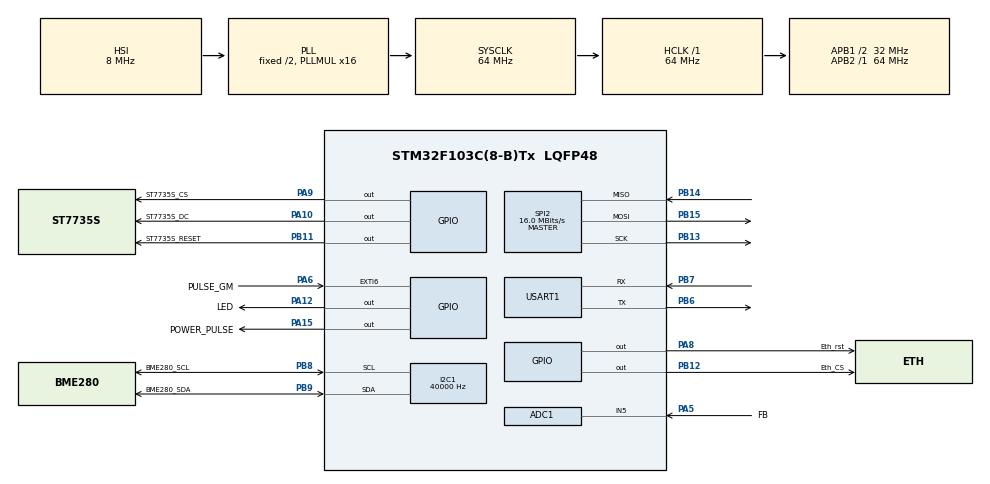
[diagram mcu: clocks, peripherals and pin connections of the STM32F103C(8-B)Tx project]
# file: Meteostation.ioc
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Mcu.Family=STM32F1
SPI2.VirtualType=VM_MASTER
VP_TIM4_VS_OPM.Mode=OPM_bit
VP_IWDG_VS_IWDG.Mode=IWDG_Activate
VP_RTC_VS_RTC_Activate.Mode=RTC_Enabled
PA6.GPIO_Label=PULSE_GM
NVIC.TIM1_UP_IRQn=true\:0\:0\:false\:false\:true\:true\:true
PB11.Signal=GPIO_Output
PB15.Signal=SPI2_MOSI
PB13.Signal=SPI2_SCK
TIM4.TIM_MasterOutputTrigger=TIM_TRGO_OC1
RCC.SYSCLKSource=RCC_SYSCLKSOURCE_PLLCLK
ProjectManager.StackSize=0x400
VP_TIM1_VS_no_output1.Mode=Output Compare1 No Output
PA15.GPIO_Label=POWER_PULSE
PA12.Signal=GPIO_Output
TIM1.Prescaler=5
SPI2.CLKPolarity=SPI_POLARITY_LOW
I2C1.ClockSpeed=40000
RCC.HCLKFreq_Value=64000000
RCC.APB2TimFreq_Value=64000000
PB6.Signal=USART1_TX
Dma.ADC1.0.Direction=DMA_PERIPH_TO_MEMORY
PB6.Mode=Asynchronous
Dma.ADC1.0.MemDataAlignment=DMA_MDATAALIGN_HALFWORD
RCC.AHBFreq_Value=64000000
SPI2.BaudRatePrescaler=SPI_BAUDRATEPRESCALER_2
PA12.PinState=GPIO_PIN_RESET
ADC1.Channel-0\#ChannelRegularConversion=ADC_CHANNEL_5
RCC.PLLMUL=RCC_PLL_MUL16
PB12.GPIO_Label=Eth_CS
PA6.GPIO_PuPd=GPIO_PULLUP
PB14.Mode=Full_Duplex_Master
Dma.ADC1.0.PeriphInc=DMA_PINC_DISABLE
PA10.GPIO_Label=ST7735S_DC
SPI2.CalculateBaudRate=16.0 MBits/s
PB7.Signal=USART1_RX
PA8.Signal=GPIO_Output
VP_TIM1_VS_ClockSourceINT.Mode=Internal
ADC1.SamplingTime-0\#ChannelRegularConversion=ADC_SAMPLETIME_7CYCLES_5
PB9.Signal=I2C1_SDA
Mcu.Package=LQFP48
PA6.Signal=GPXTI6
SPI2.Mode=SPI_MODE_MASTER
PA10.Signal=GPIO_Output
PA15.Signal=GPIO_Output
SPI2.CLKPhase=SPI_PHASE_1EDGE
RCC.APB1TimFreq_Value=64000000
SPI2.Direction=SPI_DIRECTION_2LINES
PB13.Mode=Full_Duplex_Master
Dma.Request0=ADC1
PA12.GPIO_Speed=GPIO_SPEED_FREQ_HIGH
TIM4.AutoReloadPreload=TIM_AUTORELOAD_PRELOAD_ENABLE
PA6.GPIO_ModeDefaultEXTI=GPIO_MODE_IT_RISING
Dma.ADC1.0.Instance=DMA1_Channel1
ADC1.Rank-0\#ChannelRegularConversion=1
PB9.GPIO_Label=BME280_SDA
PA9.GPIO_Label=ST7735S_CS
TIM1.Channel-Output\ Compare1\ No\ Output=TIM_CHANNEL_1
TIM1.OCMode_1=TIM_OCMODE_TOGGLE
PB11.GPIO_Label=ST7735S_RESET
RCC.APB1CLKDivider=RCC_HCLK_DIV2
VP_SYS_VS_ND.Mode=No_Debug
PA12.GPIO_Label=LED
RCC.ADCPresc=RCC_ADCPCLK2_DIV8
TIM1.AutoReloadPreload=TIM_AUTORELOAD_PRELOAD_ENABLE
PB8.GPIO_Label=BME280_SCL
Dma.ADC1.0.PeriphDataAlignment=DMA_PDATAALIGN_HALFWORD
PA8.GPIO_Label=Eth_rst
ProjectManager.TargetToolchain=STM32CubeIDE
SPI2.CRCCalculation=SPI_CRCCALCULATION_DISABLE
Dma.ADC1.0.Mode=DMA_NORMAL
I2C1.I2C_Mode=I2C_Fast
Dma.ADC1.0.Priority=DMA_PRIORITY_LOW
PB9.Mode=I2C
PA9.Signal=GPIO_Output
RCC.USBFreq_Value=64000000
TIM4.Prescaler=20
PB12.GPIO_Speed=GPIO_SPEED_FREQ_HIGH
PB14.Signal=SPI2_MISO
PA5.Signal=ADCx_IN5
board=custom
PB15.Mode=Full_Duplex_Master
TIM1.TIM_MasterOutputTrigger=TIM_TRGO_OC1REF
RCC.APB2Freq_Value=64000000
Mcu.Name=STM32F103C(8-B)Tx
ADC1.ExternalTrigConv=ADC_SOFTWARE_START
RCC.SYSCLKFreq_VALUE=64000000
ADC1.master=1
PA5.GPIO_Label=FB
RCC.HSEDivPLL=RCC_HSE_PREDIV_DIV2
SPI2.FirstBit=SPI_FIRSTBIT_MSB
USART1.VirtualMode=VM_ASYNC
PA15.GPIO_Speed=GPIO_SPEED_FREQ_HIGH
PB7.Mode=Asynchronous
NVIC.EXTI9_5_IRQn=true\:0\:0\:false\:false\:true\:true\:true
Dma.ADC1.0.MemInc=DMA_MINC_DISABLE
ProjectManager.HeapSize=0x200
SH.ADCx_IN5.0=ADC1_IN5,IN5
VP_TIM4_VS_ClockSourceINT.Mode=Internal
NVIC.PriorityGroup=NVIC_PRIORITYGROUP_4
ADC1.NbrOfConversionFlag=1
PB8.Mode=I2C
IWDG.Prescaler=IWDG_PRESCALER_128
PB8.Signal=I2C1_SCL
SPI2.DataSize=SPI_DATASIZE_8BIT
NVIC.DMA1_Channel1_IRQn=true\:0\:0\:false\:false\:true\:true\:true
NVIC.TIM4_IRQn=true\:0\:0\:false\:false\:true\:true\:true
RCC.APB1Freq_Value=32000000
PB12.Signal=GPIO_Output

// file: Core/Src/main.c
/* USER CODE BEGIN Header */
/**
  ******************************************************************************
  * @file           : main.c
  * @brief          : Main program body
  ******************************************************************************
  * @attention
  *
  * <h2><center>&copy; Copyright (c) 2022 STMicroelectronics.
  * All rights reserved.</center></h2>
  *
  * This software component is licensed by ST under BSD 3-Clause license,
  * the "License"; You may not use this file except in compliance with the
  * License. You may obtain a copy of the License at:
  *                        opensource.org/licenses/BSD-3-Clause
  *
  ******************************************************************************
  */
/* USER CODE END Header */
#include "main.h"

/* USER CODE BEGIN PTD */
#ifndef PUBLIC_VAR
#define PUBLIC_VAR

uint32_t fastCounter, CO2Counter, CO2Interval ;
uint16_t hvLevel;
bool gm_ready;
float temperature, pressure, humidity;
char ZabbixHostName[255];
#endif

/* USER CODE END PTD */

ADC_HandleTypeDef hadc1;
DMA_HandleTypeDef hdma_adc1;

I2C_HandleTypeDef hi2c1;

IWDG_HandleTypeDef hiwdg;

RTC_HandleTypeDef hrtc;

SPI_HandleTypeDef hspi2;

TIM_HandleTypeDef htim1;
TIM_HandleTypeDef htim4;

UART_HandleTypeDef huart1;

/* USER CODE BEGIN PV */
HAL_StatusTypeDef	flash_ok;
char uart_buffer[10] = {0,};
char buff_anem[50] = {0,};
char SndBuffer[200] = {0,};
char text1306[16];
uint16_t gm_counter = 0;
uint32_t gm_interval = 0, ntp_interval = 0, zabb_interval = 0, anem_interval = 0;
float gm_cps = 0;
sSensorMeasurement_t messuremetData;
uint16_t CO2;

#ifdef ZABBIX_ENABLE
wiz_NetInfo net_info = {
	.mac  = { MAC_ADDRESS },
	.dhcp = NETINFO_DHCP
};
uint8_t ntp_server[4] = {192, 168, 1, 1/*188, 246, 226, 6*/};
uint8_t gDATABUF[DATA_BUF_SIZE];
datetime timeNTP;
#endif

RTC_TimeTypeDef sTime = {0};
RTC_DateTypeDef DateToUpdate = {0};
char trans_str[64] = {0,};
bool gm_ready = FALSE;
bool first_start = TRUE, fist_time_show = TRUE, first_time_anem = TRUE;
int tot_bytes = 0;

/* USER CODE END PV */

void SystemClock_Config(void);
static void MX_GPIO_Init(void);
static void MX_DMA_Init(void);
static void MX_USART1_UART_Init(void);
static void MX_I2C1_Init(void);
static void MX_SPI2_Init(void);
static void MX_IWDG_Init(void);
static void MX_ADC1_Init(void);
static void MX_TIM1_Init(void);
static void MX_RTC_Init(void);
static void MX_TIM4_Init(void);

/* USER CODE BEGIN 0 */
#ifdef ZABBIX_ENABLE

#ifdef ZABBIX_DEBUG
void UART_Printf(const char* fmt, ...) {
	char buff[256];
	va_list args;
	va_start(args, fmt);
	vsnprintf(buff, sizeof(buff), fmt, args);
	HAL_UART_Transmit(&huart1, (uint8_t*) buff, strlen(buff), HAL_MAX_DELAY);
	va_end(args);
}
#endif

void W5500_Select(void) {
	HAL_GPIO_WritePin(Eth_CS_GPIO_Port, Eth_CS_Pin, GPIO_PIN_RESET);
}

void W5500_Unselect(void) {
	HAL_GPIO_WritePin(Eth_CS_GPIO_Port, Eth_CS_Pin, GPIO_PIN_SET);
}

void W5500_ReadBuff(uint8_t* buff, uint16_t len) {
	HAL_SPI_Receive(&hspi2, buff, len, HAL_MAX_DELAY);
}

void W5500_WriteBuff(uint8_t* buff, uint16_t len) {
	HAL_SPI_Transmit(&hspi2, buff, len, HAL_MAX_DELAY);
}

uint8_t W5500_ReadByte(void) {
	uint8_t byte;
	W5500_ReadBuff(&byte, sizeof(byte));
	return byte;
}

void W5500_WriteByte(uint8_t byte) {
	W5500_WriteBuff(&byte, sizeof(byte));
}

volatile bool ip_assigned = false;

void Callback_IPAssigned(void) {
#ifdef ZABBIX_DEBUG
	UART_Printf("Callback: IP assigned! Leased time: %d sec\r\n", getDHCPLeasetime());
#endif
    ip_assigned = true;
}

void Callback_IPConflict(void) {
#ifdef ZABBIX_DEBUG
    UART_Printf("Callback: IP conflict!\r\n");
#endif
}

// 1K should be enough, see https://forum.wiznet.io/t/topic/1612/2
uint8_t dhcp_buffer[1024];
// 1K seems to be enough for this buffer as well
//uint8_t dns_buffer[1024];

/*
 * addr -- IP address zabbix server, dhcp option 224.
 * Settings for isc-dhcp-server:
 * 		option zabbix-server-ip code 224 = ip-address ;
 * 		option zabix-host-name code 225 = string ;
 * 		host anemometr {
 *      	hardware ethernet 00:11:22:33:44:xx;
 *      	fixed-address 192.168.1.24;
 *       	option zabbix-server-ip 192.168.1.6;
 *       	option zabix-host-name "Ed";
 * 		}
 *
 * key -- Zabbix key: {ALTIM_DIRECT, ALTIM_SPEED}
 *
 * value -- Float value of key.
*/
uint8_t sendToZabbix(uint8_t * addr, char * host, char * key, float value) {
#ifdef ZABBIX_DEBUG
    UART_Printf("Creating socket...\r\n");
#endif
    uint8_t tcp_socket = TCP_SOCKET;
    uint8_t code = socket(tcp_socket, Sn_MR_TCP, 10888, 0);
    if(code != tcp_socket) {
	#ifdef ZABBIX_DEBUG
        UART_Printf("socket() failed, code = %d\r\n", code);
	#endif
        return(-1);
    }
#ifdef ZABBIX_DEBUG
    UART_Printf("Socket created, connecting...\r\n");
#endif
    code = connect(tcp_socket, addr, ZABBIXPORT);
    if(code != SOCK_OK) {
	#ifdef ZABBIX_DEBUG
        UART_Printf("connect() failed, code = %d\r\n", code);
	#endif
        close(tcp_socket);
        return(-2);
    }
#ifdef ZABBIX_DEBUG
    UART_Printf("Connected, sending ZABBIX request...\r\n");
#endif
    {
    	char req[ZABBIXMAXLEN];
    	char str[ZABBIXMAXLEN - 13];
    	sprintf(str, "{\"request\":\"sender data\",\"data\":[{\"host\":\"%.20s\",\"key\":\"%s\",\"value\":\"%f\"}]}", host, key, value);
    	req[0] = 'Z';
    	req[1] = 'B';
		req[2] = 'X';
		req[3] = 'D';
		req[4] = 0x01;
		req[5] = strlen(str);
		req[6] = 0;
		req[7] = 0;
		req[8] = 0;
		req[9] = 0;
		req[10] = 0;
		req[11] = 0;
		req[12] = 0;
		strcpy(req + 13, str);
        //char req[] = "ZBXD\1\0\0\0\0\0\0\0\0{\"request\":\"sender data\",\"data\":[{\"host\":\"Ed\",\"key\":\"ALTIM_DIRECT\",\"value\":\"10\"}]}";
        uint8_t len = req[5] + 13;
        uint8_t* buff = (uint8_t*)&req;
        while(len > 0) {
		#ifdef ZABBIX_DEBUG
            UART_Printf("Sending %d bytes, data length %d bytes...\r\n", len, req[5]);
		#endif
            int32_t nbytes = send(tcp_socket, buff, len);
            if(nbytes <= 0) {
			#ifdef ZABBIX_DEBUG
                UART_Printf("send() failed, %d returned\r\n", nbytes);
			#endif
                close(tcp_socket);
                return(-3);
            }
			#ifdef ZABBIX_DEBUG
            UART_Printf("%d b sent!\r\n", nbytes);
			#endif
            len -= nbytes;
        }
    }
    /* Read data from Zabbix */
	#ifdef ZABBIX_DEBUG
		UART_Printf("Read.\r\n");
		{
			char buff[32];
			for(;;) {
				int32_t nbytes = recv(tcp_socket, (uint8_t*)&buff, sizeof(buff)-1);
				if(nbytes == SOCKERR_SOCKSTATUS) {
					UART_Printf("\r\nDisconnect.\r\n");
					break;
				}

				if(nbytes <= 0) {
					UART_Printf("\r\nrecv() failed, %d\r\n", nbytes);
					break;
				}

				buff[nbytes] = '\0';
				UART_Printf("%s", buff);
			}
		}

		UART_Printf("Closing socket.\r\n");
	#endif
    close(tcp_socket);
    return(0);
}

void getDataFromAnemometer () {
	//ANEMOMETERPORT
    uint8_t tcp_socket = ANM_SOCKET;
    uint8_t code = socket(tcp_socket, Sn_MR_TCP, 10889, 0);
    tot_bytes = 0;
    if(code != tcp_socket) {
        return;
    }
    code = connect(tcp_socket, net_info.zabbix, ANEMOMETERPORT);
    if(code != SOCK_OK) {
        close(tcp_socket);
        return;
    }
	for(;;) {
		int32_t nbytes = recv(tcp_socket, (uint8_t*) &buff_anem, sizeof(buff_anem) - 1);
		tot_bytes += nbytes;
		if(nbytes == SOCKERR_SOCKSTATUS) {
			break;
		}

	}
	if(tot_bytes > 3) {
	}
	close(tcp_socket);
}

void init_w5500() {
	#ifdef ZABBIX_DEBUG
    UART_Printf("\r\ninit() called!\r\n");
    UART_Printf("W5500 callbacks...\r\n");
	#endif
    reg_wizchip_cs_cbfunc(W5500_Select, W5500_Unselect);
    reg_wizchip_spi_cbfunc(W5500_ReadByte, W5500_WriteByte);
    reg_wizchip_spiburst_cbfunc(W5500_ReadBuff, W5500_WriteBuff);
	#ifdef ZABBIX_DEBUG
    UART_Printf("wizchip_init()...\r\n");
	#endif
    uint8_t rx_tx_buff_sizes[] = {2, 2, 2, 2, 2, 2, 2, 2};
    wizchip_init(rx_tx_buff_sizes, rx_tx_buff_sizes);
	#ifdef ZABBIX_DEBUG
    UART_Printf("DHCP_init()...\r\n");
	#endif

    // set MAC address before using DHCP
    setSHAR(net_info.mac);
    DHCP_init(DHCP_SOCKET, dhcp_buffer);
	#ifdef ZABBIX_DEBUG
    UART_Printf("DHCP callbacks...\r\n");
	#endif
    reg_dhcp_cbfunc(
        Callback_IPAssigned,
        Callback_IPAssigned,
        Callback_IPConflict
    );
	#ifdef ZABBIX_DEBUG
    UART_Printf("DHCP_run()...\r\n");
	#endif
    // actually should be called in a loop, e.g. by timer
    uint32_t ctr = 10000;
    while((!ip_assigned) && (ctr > 0)) {
        DHCP_run();
        ctr--;
        HAL_Delay(300);
    }
    if(!ip_assigned) {
		#ifdef ZABBIX_DEBUG
        UART_Printf("\r\nIP was not assigned :(\r\n");
		#endif
        return;
    }

    getIPfromDHCP(net_info.ip);
    getGWfromDHCP(net_info.gw);
    getSNfromDHCP(net_info.sn);
    getZABBIXfromDHCP(net_info.zabbix);
    getHostNamefromDHCP(net_info.hostname);
    //getTimeSrvfromDHCP(net_info.tmsrv);
    getSNTPSrvfromDHCP(net_info.tmsrv);
    if (net_info.hostname[0] == '\0') {
    	sprintf(ZabbixHostName, "%s", ZABBIXAGHOST);
    } else {
    	sprintf(ZabbixHostName, "%s", net_info.hostname);
    }

    //uint8_t dns[4];
    //getDNSfromDHCP(dns);
	#ifdef ZABBIX_DEBUG
    UART_Printf("IP:  %d.%d.%d.%d\r\nGW:  %d.%d.%d.%d\r\nNet: %d.%d.%d.%d\r\nZabbix: %d.%d.%d.%d\r\nHostName:%s\r\n",
        net_info.ip[0], net_info.ip[1], net_info.ip[2], net_info.ip[3],
        net_info.gw[0], net_info.gw[1], net_info.gw[2], net_info.gw[3],
        net_info.sn[0], net_info.sn[1], net_info.sn[2], net_info.sn[3],
        net_info.zabbix[0], net_info.zabbix[1], net_info.zabbix[2], net_info.zabbix[3],
		ZabbixHostName
    );
    UART_Printf("Calling wizchip_setnetinfo()...\r\n");
	#endif
    wizchip_setnetinfo(&net_info);

}
#endif

/*
 * Function for control SCD41
 */
void setSleepMode(uint16_t mode) {
  SCDwriteData(mode, NULL, 0);
  if(SCD4X_WAKE_UP == mode)
    HAL_Delay(20);   // Give it some time to switch mode
}

uint16_t performSelfTest(void) {
  SCDwriteData(SCD4X_PERFORM_SELF_TEST, NULL, 0);
  HAL_Delay(10000);
  uint8_t buf[3] = {0};
  return SCD4X_CONCAT_BYTES(buf[0], buf[1]);
}

void moduleReinit(void) {
  SCDwriteData(SCD4X_REINIT, NULL, 0);
  HAL_Delay(20);
}

void performFactoryReset(void) {
  SCDwriteData(SCD4X_PERFORM_FACTORY_RESET, NULL, 0);
  HAL_Delay(1200);
}

/*
 * Measurement Function for SCD41
 */

void measureSingleShot(uint16_t mode) {
  SCDwriteData(mode, NULL, 0);
  if(SCD4X_MEASURE_SINGLE_SHOT == mode) {
	  HAL_Delay(5000);
  } else if(SCD4X_MEASURE_SINGLE_SHOT_RHT_ONLY == mode) {
	  HAL_Delay(50);
  }
}

void enablePeriodMeasure(uint16_t mode) {
  SCDwriteData(mode, NULL, 0);
  if(SCD4X_STOP_PERIODIC_MEASURE == mode)
	HAL_Delay(500);   // Give it some time to switch mode
}

bool getDataReadyStatus(void) {
  uint8_t buf[3] = {0};
  SCDreadData(SCD4X_GET_DATA_READY_STATUS, buf, sizeof(buf));
  if(0x0000 == (SCD4X_CONCAT_BYTES(buf[0], buf[1]) & 0x7FF)){
    return false;
  }
  return true;
}

/*
void setTempComp(float tempComp) {
  uint16_t data = (uint16_t)(tempComp * ((uint32_t)1 << 16) / 175);
  uint8_t * sendPack  = pack(data);
  SCDwriteData(SCD4X_SET_TEMPERATURE_OFFSET, sendPack, 3);
  free(sendPack);
}

float getTempComp(void) {
  uint8_t buf[3] = {0};
  SCDreadData(SCD4X_GET_TEMPERATURE_OFFSET, buf, sizeof(buf));
  if(buf[2] != calcCRC(SCD4X_CONCAT_BYTES(buf[0], buf[1]))) {
    //DBG("The crc failed!");
  }
  return 175 * (float)( SCD4X_CONCAT_BYTES(buf[0], buf[1]) ) / ((uint32_t)1 << 16);
}

void setSensorAltitude(uint16_t altitude) {
  uint8_t * sendPack = pack(altitude);
  SCDwriteData(SCD4X_SET_SENSOR_ALTITUDE, sendPack, 3);
  free(sendPack);
}

uint16_t getSensorAltitude(void) {
  uint8_t buf[3] = {0};
  SCDreadData(SCD4X_GET_SENSOR_ALTITUDE, buf, sizeof(buf));
  return SCD4X_CONCAT_BYTES(buf[0], buf[1]);
}

void setAmbientPressure(uint32_t ambientPressure) {
  uint16_t data = (uint16_t)(ambientPressure / 100);
  uint8_t * sendPack = pack(data);
  SCDwriteData(SCD4X_SET_AMBIENT_PRESSURE, sendPack, 3);
  free(sendPack);
}

int16_t performForcedRecalibration(uint16_t CO2ppm) {
  uint8_t * sendPack = pack(CO2ppm);
  SCDwriteData(SCD4X_PERFORM_FORCED_RECALIB, sendPack, 3);
  free(sendPack);
  HAL_Delay(400);   // command execution time
  uint8_t buf[3] = {0};
  return (int16_t)(SCD4X_CONCAT_BYTES(buf[0], buf[1]) - 0x8000);
}

void setAutoCalibMode(bool mode) {
  uint16_t data = 0;
  if(mode) {
    data = 1;
  }
  uint8_t * sendPack = pack(data);
  SCDwriteData(SCD4X_SET_AUTOMATIC_CALIB, sendPack, 3);
  free(sendPack);
}

bool getAutoCalibMode(void) {
  uint8_t buf[3] = {0};
  SCDreadData(SCD4X_GET_AUTOMATIC_CALIB, buf, sizeof(buf));
  if(0x0000 == SCD4X_CONCAT_BYTES(buf[0], buf[1])){
    return false;
  }
  return true;
}
*/

void persistSettings(void) {
  SCDwriteData(SCD4X_PERSIST_SETTINGS, NULL, 0);
  HAL_Delay(800);
}

bool getSerialNumber(uint16_t * wordBuf) {
  bool ret = true;
  uint8_t buf[9] = {0};
  if(sizeof(buf) != SCDreadData(SCD4X_GET_SERIAL_NUMBER, buf, sizeof(buf))) {
    ret = false;
  }
  wordBuf[0] = SCD4X_CONCAT_BYTES(buf[0], buf[1]);
  wordBuf[1] = SCD4X_CONCAT_BYTES(buf[3], buf[4]);
  wordBuf[2] = SCD4X_CONCAT_BYTES(buf[6], buf[7]);
  return ret;
}

/*
uint8_t calcCRC(uint16_t data) {
  uint16_t current_byte;
  uint8_t crc = SCD4X_CRC8_INIT;
  uint8_t crc_bit;
  uint8_t buf[2] = {(uint8_t)((data >> 8) & 0xFF), (uint8_t)(data & 0xFF)};

  // calculates 8-Bit checksum with given polynomial
  for (current_byte = 0; current_byte < 2; ++current_byte) {
    crc ^= (buf[current_byte]);
    for (crc_bit = 8; crc_bit > 0; --crc_bit) {
      if (crc & 0x80)
        crc = (crc << 1) ^ SCD4X_CRC8_POLYNOMIAL;
      else
        crc = (crc << 1);
    }
  }
  return crc;
}

uint8_t * DFRobot_SCD4X_pack(uint16_t data) {
  uint8_t * pBuf = (uint8_t *)malloc(sizeof(uint8_t) * 3);
  memset(pBuf, 0, sizeof(uint8_t) * 3);
  pBuf[0] = (uint8_t)((data >> 8) & 0xFF);
  pBuf[1] = (uint8_t)(data & 0xFF);
  pBuf[2] = calcCRC(data);

  return pBuf;
}
*/

/****************************** Read/Write Command Function ********************************/

void SCDwriteData(uint16_t cmd, uint8_t *pBuf, size_t size) {
  HAL_I2C_Mem_Write(&SCD4X_I2C_PORT, SCD4X_I2C_ADDR, cmd, 2, NULL, 0, 100);
}

size_t SCDreadData(uint16_t cmd, uint8_t *pBuf, size_t size) {
  HAL_I2C_Mem_Write(&SCD4X_I2C_PORT, SCD4X_I2C_ADDR, cmd, 2, NULL, 0, 100);
  HAL_I2C_Master_Receive(&SCD4X_I2C_PORT, SCD4X_I2C_ADDR, pBuf, size, 100);
  return size;
}

void readMeasurement(sSensorMeasurement_t * data) {
  uint8_t buf[9] = {0};
  SCDreadData(SCD4X_READ_MEASUREMENT, buf, sizeof(buf));
  data->CO2ppm = SCD4X_CONCAT_BYTES(buf[0], buf[1]);
  data->temp = -45 + 175 * (float)(SCD4X_CONCAT_BYTES(buf[3], buf[4])) / ((uint32_t)1 << 16);
  data->humidity = 100 * (float)(SCD4X_CONCAT_BYTES(buf[6], buf[7])) / ((uint32_t)1 << 16);
}

/* USER CODE END 0 */

int main(void)
{

  /* MCU Configuration--------------------------------------------------------*/

  /* Reset of all peripherals, Initializes the Flash interface and the Systick. */
  HAL_Init();

  /* Configure the system clock */
  SystemClock_Config();

  /* USER CODE BEGIN SysInit */
  ST7735_Unselect();
  /* USER CODE END SysInit */

  /* Initialize all configured peripherals */
  MX_GPIO_Init();
  MX_DMA_Init();
  MX_USART1_UART_Init();
  MX_I2C1_Init();
  MX_SPI2_Init();
  MX_IWDG_Init();
  MX_ADC1_Init();
  MX_TIM1_Init();
  MX_RTC_Init();
  MX_TIM4_Init();
  /* USER CODE BEGIN 2 */
  HAL_GPIO_WritePin(LED_GPIO_Port, LED_Pin, GPIO_PIN_SET);
  #ifdef DISPLAY_ST7735S
  ST7735_Init();
  ST7735_FillScreen(ST7735_BLACK);
  ST7735_WriteString(0, 0, "SCD41 init  ", Font_7x10, ST7735_WHITE, ST7735_BLACK);
  #endif
  #ifdef DISPLAY_1306
  ssd1306_Init();
  ssd1306_SetCursor(0, 0);
  ssd1306_WriteString("SCD41 init  ", Font_6x8, 0x01);
  ssd1306_UpdateScreen();
  #endif

  uint16_t serialBufer[3];
  serialBufer[0] = 0;
  serialBufer[1] = 0;
  serialBufer[2] = 0;
  //LED_PULSE
  enablePeriodMeasure(SCD4X_STOP_PERIODIC_MEASURE);  // Write: C4 0 D:3F 0 D:86 0
  HAL_Delay(500);
  //LED_PULSE
  if (getSerialNumber(serialBufer)) { // Write: C4 0 D:36 0 D:82 0 Read: C5 0 D:EA 0 D:AE 0 D:FA 0 D:B7 0 D:07 0 D:29 0 D:3B 0 D:BF Write: C4 0 D:21 0 D:B1 0
	#ifdef DISPLAY_ST7735S
	ST7735_WriteString(96, 0, "Ok", Font_7x10, ST7735_GREEN, ST7735_BLACK);
	#endif
	#ifdef  DISPLAY_1306
	  ssd1306_WriteString("Ok", Font_6x8, 0x01);
	  ssd1306_UpdateScreen();
	  HAL_Delay(300);
	#endif
  } else {
	#ifdef DISPLAY_ST7735S
	ST7735_WriteString(96, 0, "Fail", Font_7x10, ST7735_RED, ST7735_BLACK);
	#endif
	#ifdef  DISPLAY_1306
	  ssd1306_WriteString("Failed.", Font_6x8, 0x01);
	  ssd1306_UpdateScreen();
	  HAL_Delay(300);
	#endif
  }

  #ifdef CO2_DEBUG
  sprintf(SndBuffer, "S0:%d S1:%d S2:%d   \r\n", serialBufer[0], serialBufer[1], serialBufer[2]);
  HAL_UART_Transmit(&huart1, (uint8_t *) SndBuffer, sizeof(SndBuffer), 1000);
  HAL_Delay(500);
  #endif
  enablePeriodMeasure(SCD4X_START_PERIODIC_MEASURE);

#ifdef BME280_ENABLE
	#ifdef DISPLAY_ST7735S
	ST7735_WriteString(0, 11, "BME280 init ", Font_7x10, ST7735_WHITE, ST7735_BLACK);
	#endif
	#ifdef DISPLAY_1306
	  ssd1306_SetCursor(0, 9);
	  ssd1306_WriteString("BME280 init ", Font_6x8, 0x01);
	  ssd1306_UpdateScreen();
	#endif
  BME280_Init();
	#ifdef DISPLAY_ST7735S
	ST7735_WriteString(96, 11, "Ok", Font_7x10, ST7735_GREEN, ST7735_BLACK);
	#endif
	#ifdef DISPLAY_1306
	ssd1306_WriteString("Ok", Font_6x8, 0x01);
	ssd1306_UpdateScreen();
	#endif
#endif

  /* Read MEassurment */ // Write: C4 0 D:EC 0 D:05 0 Read: C5 0 D:03 0 D:F4 0 D:EA 0 D:69 0 D:57 0 D:FE 0 D:5B 0 D:48 0 D:F8 0

  /* USER CODE END 2 */

  /* Infinite loop */
  /* USER CODE BEGIN WHILE */
  //HAL_GPIO_WritePin(LED_GPIO_Port, LED_Pin, GPIO_PIN_SET);

	#ifdef DISPLAY_ST7735S
	ST7735_WriteString(0, 22, "Eth init", Font_7x10, ST7735_WHITE, ST7735_BLACK);
	#endif
	#ifdef DISPLAY_1306
	//ssd1306_Init();
	ssd1306_SetCursor(0, 18);
	ssd1306_WriteString("Eth init    ", Font_6x8, 0x01);
	ssd1306_UpdateScreen();
	#endif
#ifdef ZABBIX_ENABLE
  HAL_GPIO_WritePin(Eth_rst_GPIO_Port, Eth_rst_Pin, GPIO_PIN_RESET);	// Reset W5500
  HAL_GPIO_WritePin(Eth_rst_GPIO_Port, Eth_rst_Pin, GPIO_PIN_SET);
  HAL_GPIO_WritePin(Eth_CS_GPIO_Port, Eth_CS_Pin, GPIO_PIN_RESET);
  HAL_Delay(3000);
  init_w5500();
  if (net_info.tmsrv[0] != 0) {
	  ntp_server[0] = net_info.tmsrv[0];
	  ntp_server[1] = net_info.tmsrv[1];
	  ntp_server[2] = net_info.tmsrv[2];
	  ntp_server[3] = net_info.tmsrv[3];
  }
  SNTP_init(0, ntp_server, 28, gDATABUF);
#ifdef DISPLAY_ST7735S
  sprintf(text1306, "IP :%d.%d.%d.%d", net_info.ip[0], net_info.ip[1], net_info.ip[2], net_info.ip[3]);
  ST7735_WriteString(0, 33, text1306, Font_7x10, ST7735_WHITE, ST7735_BLACK);
  sprintf(text1306, "NTP:%.0d.%.0d.%.0d.%.0d", net_info.tmsrv[0], net_info.tmsrv[1], net_info.tmsrv[2], net_info.tmsrv[3]);
  ST7735_WriteString(0, 44, text1306, Font_7x10, ST7735_WHITE, ST7735_BLACK);
  sprintf(text1306, "ZAB:%.0d.%.0d.%.0d.%.0d", net_info.zabbix[0], net_info.zabbix[1], net_info.zabbix[2], net_info.zabbix[3]);
  ST7735_WriteString(0, 55, text1306, Font_7x10, ST7735_WHITE, ST7735_BLACK);
#endif

  HAL_Delay(2000);
#else
  HAL_GPIO_WritePin(Eth_rst_GPIO_Port, Eth_rst_Pin, GPIO_PIN_RESET);	// Reset W5500
  HAL_GPIO_WritePin(Eth_CS_GPIO_Port, Eth_CS_Pin, GPIO_PIN_SET);
#endif

  /* HV setting */
  HAL_TIM_Base_Start_IT(&htim1);
  gm_interval = HAL_GetTick();

  CO2Interval = MEAS_CO2_INTERVAL1;
  HAL_GPIO_WritePin(LED_GPIO_Port, LED_Pin, GPIO_PIN_RESET);
  #ifdef DISPLAY_ST7735S
  ST7735_FillScreen(ST7735_BLACK);
  #endif

  while (1)
  {
		HAL_IWDG_Refresh(&hiwdg);
	  	  	if (HAL_GetTick() - CO2Counter > CO2Interval) {
	  	  		CO2Counter = HAL_GetTick();
	  	  		readMeasurement(&messuremetData);
				if (messuremetData.CO2ppm > 0) {
					CO2 = messuremetData.CO2ppm;
					CO2Interval = MEAS_CO2_INTERVAL2;
				} else {
					CO2Interval = MEAS_CO2_INTERVAL1;
				}
				#ifdef ZABBIX_ENABLE
				if (CO2 > 300) {
					sendToZabbix(net_info.zabbix, ZabbixHostName, "CO2", CO2);
				}
				#endif
				#ifdef CO2_DEBUG
				sprintf(SndBuffer, "CO2:%d H:%f T:%f   \r\n", messuremetData.CO2ppm, messuremetData.humidity, messuremetData.temp);
				HAL_UART_Transmit(&huart1, (uint8_t *) SndBuffer, sizeof(SndBuffer), 1000);
				#endif
	  	  	}
	  	  	if (HAL_GetTick() - fastCounter > MEAS_INTERVAL) {
	  	  		fastCounter = HAL_GetTick();

				#ifdef BME280_ENABLE
	  	  		temperature = BME280_ReadTemperature();
	  	  		pressure = BME280_ReadPressure() * 0.00750063755419211f; //0.00750063755419211
	  	  		humidity = BME280_ReadHumidity();
				#endif

				#ifdef DISPLAY_ST7735S
				//ST7735_FillScreen(ST7735_BLACK);
				sprintf(text1306, "Temp:%.0f ", temperature);
				ST7735_WriteString(0, 0, text1306, Font_7x10, ST7735_WHITE, ST7735_BLACK);

				/* Давление */
				sprintf(text1306, "Pres:%.0f  ", pressure);
				ST7735_WriteString(60, 0, text1306, Font_7x10, ST7735_WHITE, ST7735_BLACK);

				/* Влажность */
				sprintf(text1306, "Hum:%.0f ", humidity);
				ST7735_WriteString(0, 11, text1306, Font_7x10, ST7735_WHITE, ST7735_BLACK);

				/* CO2 */
				sprintf(text1306, "CO2:%d  ", CO2);
				if (CO2 < CO2_NOMINAL) {
					ST7735_WriteString(60, 11, text1306, Font_7x10, ST7735_GREEN, ST7735_BLACK);
				} else if (CO2 < CO2_MAXIMUM) {
					ST7735_WriteString(60, 11, text1306, Font_7x10, ST7735_YELLOW, ST7735_BLACK);
				} else {
					ST7735_WriteString(60, 11, text1306, Font_7x10, ST7735_RED, ST7735_BLACK);
				}

				/* Дозиметр */
				sprintf(text1306, "C:%d  ", gm_counter);
				ST7735_WriteString(0, 22, text1306, Font_7x10, ST7735_WHITE, ST7735_BLACK);

				sprintf(text1306, "%.2fcps   ", gm_cps);
				ST7735_WriteString(60, 22, text1306, Font_7x10, ST7735_WHITE, ST7735_BLACK);

				sprintf(text1306, "%.1fuRh ", gm_cps * GM_CPS2URh);
				ST7735_WriteString(0, 33, text1306, Font_7x10, ST7735_WHITE, ST7735_BLACK);

				/* Высокое напряжение */
				sprintf(text1306, "%.0fv   ", hvLevel * POWER_CONVERT);
				ST7735_WriteString(60, 33, text1306, Font_7x10, ST7735_WHITE, ST7735_BLACK);
				#endif

				#ifdef DISPLAY_1306
				ssd1306_Fill(0);
				/* Температура */
				sprintf(text1306, "T:%.1f", temperature);
				ssd1306_SetCursor(COLUMN0, 0);
				ssd1306_WriteString(text1306, Font_6x8, 0x01);

				/* Давление */
				sprintf(text1306, "P:%.0f", pressure);
				ssd1306_SetCursor(COLUMN0, 8);
				ssd1306_WriteString(text1306, Font_6x8, 0x01);

				/* Влажность */
				sprintf(text1306, "H:%.1f", humidity);
				ssd1306_SetCursor(COLUMN0, 16);
				ssd1306_WriteString(text1306, Font_6x8, 0x01);

				/* CO2 */
				sprintf(text1306, "CO2:%d", CO2);
				ssd1306_SetCursor(COLUMN0, 24);
				ssd1306_WriteString(text1306, Font_6x8, 0x01);

				/* Дозиметр */
				sprintf(text1306, "C:%d", gm_counter);
				ssd1306_SetCursor(COLUMN1, 0);
				ssd1306_WriteString(text1306, Font_6x8, 0x01);

				sprintf(text1306, "%.2fcps", gm_cps);
				ssd1306_SetCursor(COLUMN1, 8);
				ssd1306_WriteString(text1306, Font_6x8, 0x01);

				sprintf(text1306, "%.1fuRh", gm_cps * GM_CPS2URh);
				ssd1306_SetCursor(COLUMN1, 16);
				ssd1306_WriteString(text1306, Font_6x8, 0x01);

				/* Высокое напряжение */
				sprintf(text1306, "%.0fv", hvLevel * POWER_CONVERT);
				ssd1306_SetCursor(COLUMN1, 24);
				ssd1306_WriteString(text1306, Font_6x8, 0x01);

				#ifdef ZABBIX_ENABLE
				/* Часы */
				HAL_RTC_GetTime(&hrtc, &sTime, RTC_FORMAT_BIN);
				sprintf(text1306, "%.2i:%.2i", sTime.Hours, sTime.Minutes);
				ssd1306_SetCursor(COLUMN2, 0);
				ssd1306_WriteString(text1306, Font_6x8, 0x01);
				#endif

				ssd1306_UpdateScreen();
				#endif
				//HAL_IWDG_Refresh(&hiwdg);
	  	  	}
		#ifdef ZABBIX_ENABLE
		if ((HAL_GetTick() - anem_interval > ANEM_INTERVAL) || first_time_anem) {
			first_time_anem = FALSE;
			anem_interval = HAL_GetTick();
			getDataFromAnemometer();
			if (tot_bytes > 0) {
				char tmp_buff[6];
				int j = 0, k = 0;
				uint16_t yy = 0;
				for (int i = 0; i < sizeof(buff_anem); i++) {
					if (buff_anem[i] == 0x0A) {
						tmp_buff[j] = 0x00;
						j = 0;
						switch (k) {
						case 0:
							sprintf(text1306, "Temp: %s   ", tmp_buff);
							yy = 44;
							break;
						case 1:
							sprintf(text1306, "Wind: %s   ", tmp_buff);
							yy = 55;
							break;
						case 2:
							sprintf(text1306, "Dir : %s   ", tmp_buff);
							yy = 66;
							break;
						}
						ST7735_WriteString(0, yy, text1306, Font_7x10, ST7735_BLUE, ST7735_BLACK);
						k++;
					} else {
						tmp_buff[j++] = buff_anem[i];
					}
					if (k >= 3) {
						break;
					}
				}
				//sprintf(text1306, "%s ", buff_anem);
				//ST7735_WriteString(0, 55, text1306, Font_7x10, ST7735_BLUE, ST7735_BLACK);
			}
		}
	  	/* Настройка времени через NTP  */
		if ((HAL_GetTick() - ntp_interval > NTP_INTERVAL) || fist_time_show) {
			fist_time_show = FALSE;
			ntp_interval = HAL_GetTick();
			//sprintf(text1306, "%lu", ntp_interval);
			//ST7735_WriteString(0, 110, text1306, Font_7x10, ST7735_WHITE, ST7735_BLACK);
			HAL_Delay(1000);
			if (SNTP_run(&timeNTP) == 1) {
				sTime.Hours = timeNTP.hh;
				sTime.Minutes = timeNTP.mm;
				sTime.Seconds = timeNTP.ss;
				HAL_RTC_SetTime(&hrtc, &sTime, RTC_FORMAT_BIN);
				ST7735_WriteString(0, 100, "NTP", Font_7x10, ST7735_BLUE, ST7735_BLACK);
			} else {
				fist_time_show = TRUE;
				ST7735_WriteString(0, 100, "RTC", Font_7x10, ST7735_RED, ST7735_BLACK);
			}
		}
		#ifdef DISPLAY_ST7735S
		/* Часы */
		HAL_RTC_GetTime(&hrtc, &sTime, RTC_FORMAT_BIN);
		sprintf(text1306, "%.2i:%.2i", sTime.Hours, sTime.Minutes);
		ST7735_WriteString(24, 88, text1306, Font_16x26, ST7735_BLUE, ST7735_BLACK);
		#endif
		#if defined(TMP117_ENABLE) || defined(BME280_ENABLE)
		if (HAL_GetTick() - zabb_interval > ZABB_MEAS_INTERVAL) {
			zabb_interval = HAL_GetTick();
		  if ((temperature < 60.0) && (temperature > -40.0)) {
			  sendToZabbix(net_info.zabbix, ZabbixHostName, "TEMPERATURE", temperature);
			#ifdef BME280_ENABLE
			  sendToZabbix(net_info.zabbix, ZabbixHostName, "PRESSURE", pressure);
			  sendToZabbix(net_info.zabbix, ZabbixHostName, "HUMIDITY", humidity);
			#endif
		  } else {
			#ifdef BME280_ENABLE
			HAL_I2C_DeInit(&hi2c1);
			MX_I2C1_Init();
			BME280_Init();  // Сбой датчика bme280, пробуем исправить.
			#endif
		  }
		}
		#endif
		if (gm_ready) {
			gm_ready = FALSE;
			sendToZabbix(net_info.zabbix, ZabbixHostName, "GM_CPS", gm_cps);
		}
		#endif
    /* USER CODE END WHILE */

  }
}

void SystemClock_Config(void)
{
  RCC_OscInitTypeDef RCC_OscInitStruct = {0};
  RCC_ClkInitTypeDef RCC_ClkInitStruct = {0};
  RCC_PeriphCLKInitTypeDef PeriphClkInit = {0};

  /** Initializes the RCC Oscillators according to the specified parameters
  * in the RCC_OscInitTypeDef structure.
  */
  RCC_OscInitStruct.OscillatorType = RCC_OSCILLATORTYPE_HSI|RCC_OSCILLATORTYPE_LSI;
  RCC_OscInitStruct.HSIState = RCC_HSI_ON;
  RCC_OscInitStruct.HSICalibrationValue = RCC_HSICALIBRATION_DEFAULT;
  RCC_OscInitStruct.LSIState = RCC_LSI_ON;
  RCC_OscInitStruct.PLL.PLLState = RCC_PLL_ON;
  RCC_OscInitStruct.PLL.PLLSource = RCC_PLLSOURCE_HSI_DIV2;
  RCC_OscInitStruct.PLL.PLLMUL = RCC_PLL_MUL16;
  if (HAL_RCC_OscConfig(&RCC_OscInitStruct) != HAL_OK)
  {
    Error_Handler();
  }
  /** Initializes the CPU, AHB and APB buses clocks
  */
  RCC_ClkInitStruct.ClockType = RCC_CLOCKTYPE_HCLK|RCC_CLOCKTYPE_SYSCLK
                              |RCC_CLOCKTYPE_PCLK1|RCC_CLOCKTYPE_PCLK2;
  RCC_ClkInitStruct.SYSCLKSource = RCC_SYSCLKSOURCE_PLLCLK;
  RCC_ClkInitStruct.AHBCLKDivider = RCC_SYSCLK_DIV1;
  RCC_ClkInitStruct.APB1CLKDivider = RCC_HCLK_DIV2;
  RCC_ClkInitStruct.APB2CLKDivider = RCC_HCLK_DIV1;

  if (HAL_RCC_ClockConfig(&RCC_ClkInitStruct, FLASH_LATENCY_2) != HAL_OK)
  {
    Error_Handler();
  }
  PeriphClkInit.PeriphClockSelection = RCC_PERIPHCLK_RTC|RCC_PERIPHCLK_ADC;
  PeriphClkInit.RTCClockSelection = RCC_RTCCLKSOURCE_LSI;
  PeriphClkInit.AdcClockSelection = RCC_ADCPCLK2_DIV8;
  if (HAL_RCCEx_PeriphCLKConfig(&PeriphClkInit) != HAL_OK)
  {
    Error_Handler();
  }
}

static void MX_ADC1_Init(void)
{

  ADC_ChannelConfTypeDef sConfig = {0};

  /** Common config
  */
  hadc1.Instance = ADC1;
  hadc1.Init.ScanConvMode = ADC_SCAN_DISABLE;
  hadc1.Init.ContinuousConvMode = DISABLE;
  hadc1.Init.DiscontinuousConvMode = DISABLE;
  hadc1.Init.ExternalTrigConv = ADC_SOFTWARE_START;
  hadc1.Init.DataAlign = ADC_DATAALIGN_RIGHT;
  hadc1.Init.NbrOfConversion = 1;
  if (HAL_ADC_Init(&hadc1) != HAL_OK)
  {
    Error_Handler();
  }
  /** Configure Regular Channel
  */
  sConfig.Channel = ADC_CHANNEL_5;
  sConfig.Rank = ADC_REGULAR_RANK_1;
  sConfig.SamplingTime = ADC_SAMPLETIME_7CYCLES_5;
  if (HAL_ADC_ConfigChannel(&hadc1, &sConfig) != HAL_OK)
  {
    Error_Handler();
  }

}

static void MX_I2C1_Init(void)
{

  hi2c1.Instance = I2C1;
  hi2c1.Init.ClockSpeed = 40000;
  hi2c1.Init.DutyCycle = I2C_DUTYCYCLE_2;
  hi2c1.Init.OwnAddress1 = 0;
  hi2c1.Init.AddressingMode = I2C_ADDRESSINGMODE_7BIT;
  hi2c1.Init.DualAddressMode = I2C_DUALADDRESS_DISABLE;
  hi2c1.Init.OwnAddress2 = 0;
  hi2c1.Init.GeneralCallMode = I2C_GENERALCALL_DISABLE;
  hi2c1.Init.NoStretchMode = I2C_NOSTRETCH_DISABLE;
  if (HAL_I2C_Init(&hi2c1) != HAL_OK)
  {
    Error_Handler();
  }

}

static void MX_IWDG_Init(void)
{

  hiwdg.Instance = IWDG;
  hiwdg.Init.Prescaler = IWDG_PRESCALER_128;
  hiwdg.Init.Reload = 4095;
  if (HAL_IWDG_Init(&hiwdg) != HAL_OK)
  {
    Error_Handler();
  }

}

static void MX_RTC_Init(void)
{

  /** Initialize RTC Only
  */
  hrtc.Instance = RTC;
  hrtc.Init.AsynchPrediv = RTC_AUTO_1_SECOND;
  hrtc.Init.OutPut = RTC_OUTPUTSOURCE_ALARM;
  if (HAL_RTC_Init(&hrtc) != HAL_OK)
  {
    Error_Handler();
  }

}

static void MX_SPI2_Init(void)
{

  /* SPI2 parameter configuration*/
  hspi2.Instance = SPI2;
  hspi2.Init.Mode = SPI_MODE_MASTER;
  hspi2.Init.Direction = SPI_DIRECTION_2LINES;
  hspi2.Init.DataSize = SPI_DATASIZE_8BIT;
  hspi2.Init.CLKPolarity = SPI_POLARITY_LOW;
  hspi2.Init.CLKPhase = SPI_PHASE_1EDGE;
  hspi2.Init.NSS = SPI_NSS_SOFT;
  hspi2.Init.BaudRatePrescaler = SPI_BAUDRATEPRESCALER_2;
  hspi2.Init.FirstBit = SPI_FIRSTBIT_MSB;
  hspi2.Init.TIMode = SPI_TIMODE_DISABLE;
  hspi2.Init.CRCCalculation = SPI_CRCCALCULATION_DISABLE;
  hspi2.Init.CRCPolynomial = 10;
  if (HAL_SPI_Init(&hspi2) != HAL_OK)
  {
    Error_Handler();
  }

}

static void MX_TIM1_Init(void)
{

  TIM_ClockConfigTypeDef sClockSourceConfig = {0};
  TIM_MasterConfigTypeDef sMasterConfig = {0};
  TIM_OC_InitTypeDef sConfigOC = {0};
  TIM_BreakDeadTimeConfigTypeDef sBreakDeadTimeConfig = {0};

  htim1.Instance = TIM1;
  htim1.Init.Prescaler = 5;
  htim1.Init.CounterMode = TIM_COUNTERMODE_UP;
  htim1.Init.Period = 65535;
  htim1.Init.ClockDivision = TIM_CLOCKDIVISION_DIV1;
  htim1.Init.RepetitionCounter = 0;
  htim1.Init.AutoReloadPreload = TIM_AUTORELOAD_PRELOAD_ENABLE;
  if (HAL_TIM_Base_Init(&htim1) != HAL_OK)
  {
    Error_Handler();
  }
  sClockSourceConfig.ClockSource = TIM_CLOCKSOURCE_INTERNAL;
  if (HAL_TIM_ConfigClockSource(&htim1, &sClockSourceConfig) != HAL_OK)
  {
    Error_Handler();
  }
  if (HAL_TIM_OC_Init(&htim1) != HAL_OK)
  {
    Error_Handler();
  }
  sMasterConfig.MasterOutputTrigger = TIM_TRGO_OC1REF;
  sMasterConfig.MasterSlaveMode = TIM_MASTERSLAVEMODE_DISABLE;
  if (HAL_TIMEx_MasterConfigSynchronization(&htim1, &sMasterConfig) != HAL_OK)
  {
    Error_Handler();
  }
  sConfigOC.OCMode = TIM_OCMODE_TOGGLE;
  sConfigOC.Pulse = 0;
  sConfigOC.OCPolarity = TIM_OCPOLARITY_HIGH;
  sConfigOC.OCNPolarity = TIM_OCNPOLARITY_HIGH;
  sConfigOC.OCFastMode = TIM_OCFAST_DISABLE;
  sConfigOC.OCIdleState = TIM_OCIDLESTATE_RESET;
  sConfigOC.OCNIdleState = TIM_OCNIDLESTATE_RESET;
  if (HAL_TIM_OC_ConfigChannel(&htim1, &sConfigOC, TIM_CHANNEL_1) != HAL_OK)
  {
    Error_Handler();
  }
  sBreakDeadTimeConfig.OffStateRunMode = TIM_OSSR_DISABLE;
  sBreakDeadTimeConfig.OffStateIDLEMode = TIM_OSSI_DISABLE;
  sBreakDeadTimeConfig.LockLevel = TIM_LOCKLEVEL_OFF;
  sBreakDeadTimeConfig.DeadTime = 0;
  sBreakDeadTimeConfig.BreakState = TIM_BREAK_DISABLE;
  sBreakDeadTimeConfig.BreakPolarity = TIM_BREAKPOLARITY_HIGH;
  sBreakDeadTimeConfig.AutomaticOutput = TIM_AUTOMATICOUTPUT_DISABLE;
  if (HAL_TIMEx_ConfigBreakDeadTime(&htim1, &sBreakDeadTimeConfig) != HAL_OK)
  {
    Error_Handler();
  }

}

static void MX_TIM4_Init(void)
{

  TIM_ClockConfigTypeDef sClockSourceConfig = {0};
  TIM_MasterConfigTypeDef sMasterConfig = {0};

  htim4.Instance = TIM4;
  htim4.Init.Prescaler = 20;
  htim4.Init.CounterMode = TIM_COUNTERMODE_UP;
  htim4.Init.Period = 65535;
  htim4.Init.ClockDivision = TIM_CLOCKDIVISION_DIV1;
  htim4.Init.AutoReloadPreload = TIM_AUTORELOAD_PRELOAD_ENABLE;
  if (HAL_TIM_Base_Init(&htim4) != HAL_OK)
  {
    Error_Handler();
  }
  sClockSourceConfig.ClockSource = TIM_CLOCKSOURCE_INTERNAL;
  if (HAL_TIM_ConfigClockSource(&htim4, &sClockSourceConfig) != HAL_OK)
  {
    Error_Handler();
  }
  if (HAL_TIM_OnePulse_Init(&htim4, TIM_OPMODE_SINGLE) != HAL_OK)
  {
    Error_Handler();
  }
  sMasterConfig.MasterOutputTrigger = TIM_TRGO_OC1;
  sMasterConfig.MasterSlaveMode = TIM_MASTERSLAVEMODE_DISABLE;
  if (HAL_TIMEx_MasterConfigSynchronization(&htim4, &sMasterConfig) != HAL_OK)
  {
    Error_Handler();
  }

}

static void MX_USART1_UART_Init(void)
{

  huart1.Instance = USART1;
  huart1.Init.BaudRate = 115200;
  huart1.Init.WordLength = UART_WORDLENGTH_8B;
  huart1.Init.StopBits = UART_STOPBITS_1;
  huart1.Init.Parity = UART_PARITY_NONE;
  huart1.Init.Mode = UART_MODE_TX_RX;
  huart1.Init.HwFlowCtl = UART_HWCONTROL_NONE;
  huart1.Init.OverSampling = UART_OVERSAMPLING_16;
  if (HAL_UART_Init(&huart1) != HAL_OK)
  {
    Error_Handler();
  }

}

static void MX_DMA_Init(void)
{

  /* DMA controller clock enable */
  __HAL_RCC_DMA1_CLK_ENABLE();

  /* DMA interrupt init */
  /* DMA1_Channel1_IRQn interrupt configuration */
  HAL_NVIC_SetPriority(DMA1_Channel1_IRQn, 0, 0);
  HAL_NVIC_EnableIRQ(DMA1_Channel1_IRQn);

}

static void MX_GPIO_Init(void)
{
  GPIO_InitTypeDef GPIO_InitStruct = {0};

  /* GPIO Ports Clock Enable */
  __HAL_RCC_GPIOA_CLK_ENABLE();
  __HAL_RCC_GPIOB_CLK_ENABLE();

  /*Configure GPIO pin Output Level */
  HAL_GPIO_WritePin(GPIOB, ST7735S_RESET_Pin|Eth_CS_Pin, GPIO_PIN_RESET);

  /*Configure GPIO pin Output Level */
  HAL_GPIO_WritePin(GPIOA, Eth_rst_Pin|ST7735S_CS_Pin|ST7735S_DC_Pin|LED_Pin
                          |POWER_PULSE_Pin, GPIO_PIN_RESET);

  /*Configure GPIO pin : PULSE_GM_Pin */
  GPIO_InitStruct.Pin = PULSE_GM_Pin;
  GPIO_InitStruct.Mode = GPIO_MODE_IT_RISING;
  GPIO_InitStruct.Pull = GPIO_PULLUP;
  HAL_GPIO_Init(PULSE_GM_GPIO_Port, &GPIO_InitStruct);

  /*Configure GPIO pin : ST7735S_RESET_Pin */
  GPIO_InitStruct.Pin = ST7735S_RESET_Pin;
  GPIO_InitStruct.Mode = GPIO_MODE_OUTPUT_PP;
  GPIO_InitStruct.Pull = GPIO_NOPULL;
  GPIO_InitStruct.Speed = GPIO_SPEED_FREQ_LOW;
  HAL_GPIO_Init(ST7735S_RESET_GPIO_Port, &GPIO_InitStruct);

  /*Configure GPIO pin : Eth_CS_Pin */
  GPIO_InitStruct.Pin = Eth_CS_Pin;
  GPIO_InitStruct.Mode = GPIO_MODE_OUTPUT_PP;
  GPIO_InitStruct.Pull = GPIO_NOPULL;
  GPIO_InitStruct.Speed = GPIO_SPEED_FREQ_HIGH;
  HAL_GPIO_Init(Eth_CS_GPIO_Port, &GPIO_InitStruct);

  /*Configure GPIO pins : Eth_rst_Pin ST7735S_CS_Pin ST7735S_DC_Pin */
  GPIO_InitStruct.Pin = Eth_rst_Pin|ST7735S_CS_Pin|ST7735S_DC_Pin;
  GPIO_InitStruct.Mode = GPIO_MODE_OUTPUT_PP;
  GPIO_InitStruct.Pull = GPIO_NOPULL;
  GPIO_InitStruct.Speed = GPIO_SPEED_FREQ_LOW;
  HAL_GPIO_Init(GPIOA, &GPIO_InitStruct);

  /*Configure GPIO pins : LED_Pin POWER_PULSE_Pin */
  GPIO_InitStruct.Pin = LED_Pin|POWER_PULSE_Pin;
  GPIO_InitStruct.Mode = GPIO_MODE_OUTPUT_PP;
  GPIO_InitStruct.Pull = GPIO_NOPULL;
  GPIO_InitStruct.Speed = GPIO_SPEED_FREQ_HIGH;
  HAL_GPIO_Init(GPIOA, &GPIO_InitStruct);

  /* EXTI interrupt init*/
  HAL_NVIC_SetPriority(EXTI9_5_IRQn, 0, 0);
  HAL_NVIC_EnableIRQ(EXTI9_5_IRQn);

}

/* USER CODE BEGIN 4 */
void HAL_GPIO_EXTI_Callback(uint16_t GPIO_Pin)
{
   if(GPIO_Pin == PULSE_GM_Pin) // interrupt from PULSE_GM
   {
	   gm_counter++;
	   if (gm_counter >= TRUST_INTERVAL) {
		   gm_cps = (float) (gm_counter / (float) ((HAL_GetTick() - gm_interval) / 1000)) - GM_SELF_FONE;
		   gm_ready = TRUE;
		   if (gm_cps < 0) {
			   gm_cps = 0;
		   }
		   gm_counter = 0;
		   gm_interval = HAL_GetTick();
	   }
		HAL_GPIO_WritePin(LED_GPIO_Port, LED_Pin, GPIO_PIN_SET);
		HAL_TIM_Base_Start_IT(&htim4);
   }
}
/* USER CODE END 4 */

void Error_Handler(void)
{
  __disable_irq();
  while (1)
  {
  }
}

/************************ (C) COPYRIGHT STMicroelectronics *****END OF FILE****/
